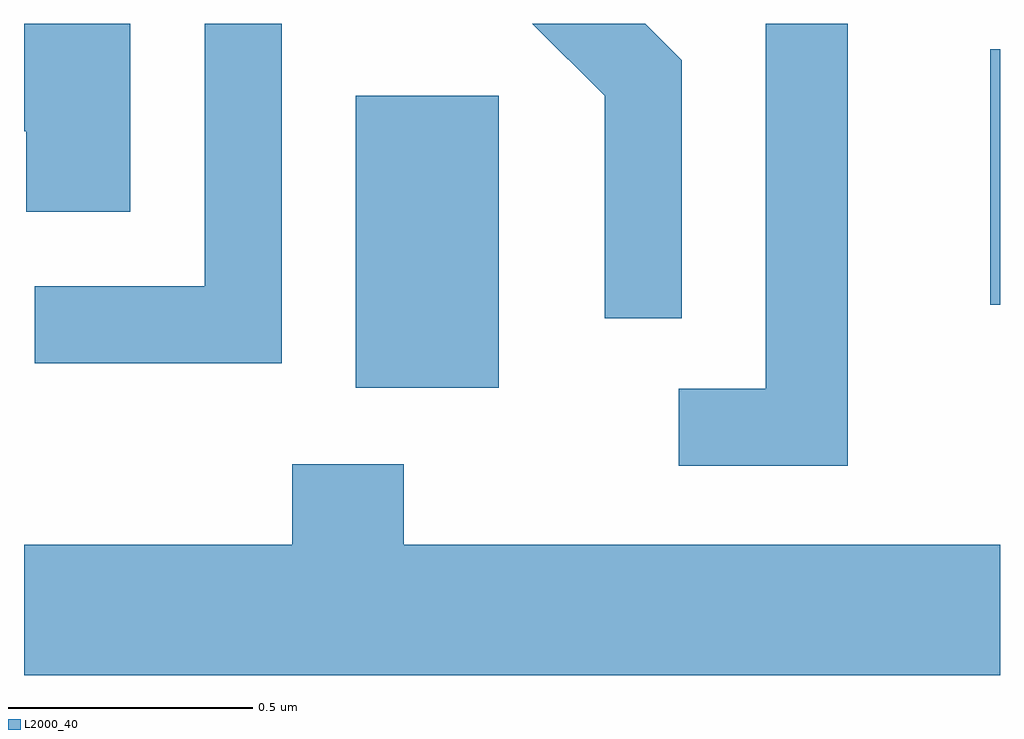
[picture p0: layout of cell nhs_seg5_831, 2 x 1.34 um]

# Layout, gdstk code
import gdstk
lib = gdstk.Library(unit=1e-6, precision=1e-09)
def R(c, l, rs):  # rectangles x0, y0, x1, y1
    for r in rs: c.add(gdstk.rectangle(r[:2], r[2:], *l))
def P(c, l, *ps):  # polygons
    for p in ps: c.add(gdstk.Polygon(p, *l))
L2000_40 = (2000, 40)

nhs_seg5_831 = lib.new_cell('nhs_seg5_831')
R(nhs_seg5_831, L2000_40, [(192.291,1406.326,192.584,1406.924), (193.591,1406.496,193.611,1407.019)])
P(nhs_seg5_831, L2000_40, [(191.829,1407.072),(191.611,1407.072),(191.611,1406.851),(191.616,1406.851),(191.616,1406.686),(191.829,1406.686)],
  [(193.299,1407.072),(193.131,1407.072),(193.131,1406.324),(192.953,1406.324),(192.953,1406.166),(193.299,1406.166)],
  [(192.139,1407.072),(191.981,1407.072),(191.981,1406.534),(191.633,1406.534),(191.633,1406.376),(192.139,1406.376)],
  [(192.959,1406.997),(192.884,1407.072),(192.653,1407.072),(192.801,1406.924),(192.801,1406.468),(192.959,1406.468)],
  [(193.611,1406.004),(192.389,1406.004),(192.389,1406.169),(192.161,1406.169),(192.161,1406.004),(191.611,1406.004),(191.611,1405.736),(193.611,1405.736)])

lib.write_gds('nhs_seg5_831.gds')
